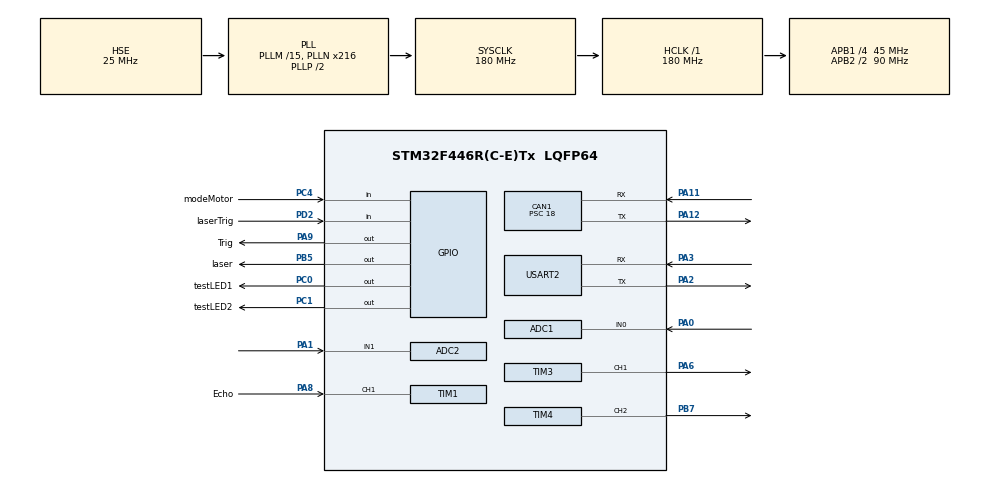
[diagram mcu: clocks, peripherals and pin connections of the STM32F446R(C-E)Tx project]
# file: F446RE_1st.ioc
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ADC1.Channel-0\#ChannelRegularConversion=ADC_CHANNEL_0
ADC1.ContinuousConvMode=ENABLE
ADC1.NbrOfConversionFlag=1
ADC1.Rank-0\#ChannelRegularConversion=1
ADC1.SamplingTime-0\#ChannelRegularConversion=ADC_SAMPLETIME_3CYCLES
ADC1.master=1
ADC2.Channel-1\#ChannelRegularConversion=ADC_CHANNEL_1
ADC2.ContinuousConvMode=ENABLE
ADC2.NbrOfConversionFlag=1
ADC2.Rank-1\#ChannelRegularConversion=1
ADC2.SamplingTime-1\#ChannelRegularConversion=ADC_SAMPLETIME_3CYCLES
CAN1.BS1=CAN_BS1_2TQ
CAN1.BS2=CAN_BS2_2TQ
CAN1.CalculateBaudRate=500000
CAN1.CalculateTimeBit=2000
CAN1.CalculateTimeQuantum=400.0
CAN1.Mode=CAN_MODE_NORMAL
CAN1.Prescaler=18
Dma.ADC1.1.Direction=DMA_PERIPH_TO_MEMORY
Dma.ADC1.1.FIFOMode=DMA_FIFOMODE_DISABLE
Dma.ADC1.1.Instance=DMA2_Stream0
Dma.ADC1.1.MemDataAlignment=DMA_MDATAALIGN_HALFWORD
Dma.ADC1.1.MemInc=DMA_MINC_ENABLE
Dma.ADC1.1.Mode=DMA_NORMAL
Dma.ADC1.1.PeriphDataAlignment=DMA_PDATAALIGN_HALFWORD
Dma.ADC1.1.PeriphInc=DMA_PINC_DISABLE
Dma.ADC1.1.Priority=DMA_PRIORITY_LOW
Dma.ADC2.0.Direction=DMA_PERIPH_TO_MEMORY
Dma.ADC2.0.FIFOMode=DMA_FIFOMODE_DISABLE
Dma.ADC2.0.Instance=DMA2_Stream2
Dma.ADC2.0.MemDataAlignment=DMA_MDATAALIGN_HALFWORD
Dma.ADC2.0.MemInc=DMA_MINC_ENABLE
Dma.ADC2.0.Mode=DMA_NORMAL
Dma.ADC2.0.PeriphDataAlignment=DMA_PDATAALIGN_HALFWORD
Dma.ADC2.0.PeriphInc=DMA_PINC_DISABLE
Dma.ADC2.0.Priority=DMA_PRIORITY_LOW
Dma.Request0=ADC2
Dma.Request1=ADC1
FREERTOS.Tasks01=CommandProcess,2,128,CommandProcessorTask,Default,NULL,Dynamic,NULL,NULL
FREERTOS.configUSE_NEWLIB_REENTRANT=1
Mcu.Family=STM32F4
Mcu.Name=STM32F446R(C-E)Tx
Mcu.Package=LQFP64
NVIC.CAN1_RX0_IRQn=true\:5\:0\:false\:false\:true\:true\:true\:true\:true
NVIC.DMA2_Stream0_IRQn=true\:5\:0\:false\:false\:true\:true\:false\:true\:true
NVIC.DMA2_Stream2_IRQn=true\:5\:0\:false\:false\:true\:true\:false\:true\:true
NVIC.PriorityGroup=NVIC_PRIORITYGROUP_4
NVIC.TIM1_CC_IRQn=true\:5\:0\:false\:false\:true\:true\:true\:true\:true
NVIC.TIM2_IRQn=true\:15\:0\:false\:false\:true\:false\:false\:true\:true
NVIC.TIM3_IRQn=true\:5\:0\:false\:false\:true\:true\:true\:true\:true
NVIC.TIM4_IRQn=true\:5\:0\:false\:false\:true\:true\:true\:true\:true
NVIC.TimeBase=TIM2_IRQn
NVIC.TimeBaseIP=TIM2
PA0-WKUP.Signal=ADCx_IN0
PA1.Signal=ADCx_IN1
PA11.Mode=CAN_Activate
PA11.Signal=CAN1_RX
PA12.Mode=CAN_Activate
PA12.Signal=CAN1_TX
PA2.Mode=Asynchronous
PA2.Signal=USART2_TX
PA3.Mode=Asynchronous
PA3.Signal=USART2_RX
PA6.Signal=S_TIM3_CH1
PA8.GPIO_Label=Echo
PA8.Signal=S_TIM1_CH1
PA9.GPIO_Label=Trig
PA9.Signal=GPIO_Output
PB5.GPIO_Label=laser
PB5.Signal=GPIO_Output
PB7.Signal=S_TIM4_CH2
PC0.GPIO_Label=testLED1
PC0.Signal=GPIO_Output
PC1.GPIO_Label=testLED2
PC1.Signal=GPIO_Output
PC4.GPIO_Label=modeMotor
PC4.GPIO_PuPd=GPIO_PULLDOWN
PC4.Signal=GPIO_Input
PD2.GPIO_Label=laserTrig
PD2.GPIO_PuPd=GPIO_PULLUP
PD2.Signal=GPIO_Input
PH0-OSC_IN.Mode=HSE-External-Oscillator
PH0-OSC_IN.Signal=RCC_OSC_IN
PH1-OSC_OUT.Mode=HSE-External-Oscillator
PH1-OSC_OUT.Signal=RCC_OSC_OUT
ProjectManager.HeapSize=0x200
ProjectManager.StackSize=0x400
ProjectManager.TargetToolchain=STM32CubeIDE
RCC.AHBFreq_Value=180000000
RCC.APB1CLKDivider=RCC_HCLK_DIV4
RCC.APB1Freq_Value=45000000
RCC.APB1TimFreq_Value=90000000
RCC.APB2CLKDivider=RCC_HCLK_DIV2
RCC.APB2Freq_Value=90000000
RCC.APB2TimFreq_Value=180000000
RCC.CortexFreq_Value=180000000
RCC.HCLKFreq_Value=180000000
RCC.PLLM=15
RCC.PLLN=216
RCC.PLLSourceVirtual=RCC_PLLSOURCE_HSE
RCC.SYSCLKFreq_VALUE=180000000
RCC.SYSCLKSource=RCC_SYSCLKSOURCE_PLLCLK
RCC.USBFreq_Value=180000000
RCC.VCOOutputFreq_Value=360000000
SH.ADCx_IN0.0=ADC1_IN0,IN0
SH.ADCx_IN1.0=ADC2_IN1,IN1
SH.S_TIM1_CH1.0=TIM1_CH1,Input_Capture1_from_TI1
SH.S_TIM3_CH1.0=TIM3_CH1,PWM Generation1 CH1
SH.S_TIM4_CH2.0=TIM4_CH2,PWM Generation2 CH2
TIM1.Channel-Input_Capture1_from_TI1=TIM_CHANNEL_1
TIM1.Prescaler=180-1
TIM3.Channel-PWM\ Generation1\ CH1=TIM_CHANNEL_1
TIM3.Period=1000
TIM3.Prescaler=900-1
TIM4.Channel-PWM\ Generation2\ CH2=TIM_CHANNEL_2
TIM4.Period=1000
TIM4.Prescaler=1800-1
USART2.VirtualMode=VM_ASYNC
VP_FREERTOS_VS_CMSIS_V1.Mode=CMSIS_V1
VP_SYS_VS_tim2.Mode=TIM2
VP_TIM3_VS_ClockSourceINT.Mode=Internal
VP_TIM4_VS_ClockSourceINT.Mode=Internal
board=custom

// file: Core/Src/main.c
/* USER CODE BEGIN Header */
/**
  ******************************************************************************
  * @file           : main.c
  * @brief          : Main program body
  ******************************************************************************
  * @attention
  *
  * Copyright (c) 2024 STMicroelectronics.
  * All rights reserved.
  *
  * This software is licensed under terms that can be found in the LICENSE file
  * in the root directory of this software component.
  * If no LICENSE file comes with this software, it is provided AS-IS.
  *
  ******************************************************************************
  */
/* USER CODE END Header */
#include "main.h"
#include "cmsis_os.h"

/* USER CODE BEGIN Includes */
#include <stdbool.h>
#include "message.pb.h"  // Include your Protocol Buffers header
#include <pb_encode.h>   // Include Nanopb encode header
#include <pb_decode.h>   // Include Nanopb decode header
#include "string.h"
#include <stdbool.h>
/* USER CODE END Includes */

/* USER CODE BEGIN PD */

// PWM pulse width limits for 9g servo motor
#define PWM_MIN 30.0f   // Minimum pulse width (CCR value for 0°)
#define PWM_MAX 75.0f   // Maximum pulse width (CCR value for 180°)

#define THRESHOLD_DISTANCE 4 // Ultra sound triggering distance

#define CAN_MAX_FRAME_SIZE 8 // Maximum bytes per CAN message
#define CAN_FIRST_FRAME_SIZE 7 // First frame bytes
#define MAX_MESSAGE_SIZE 32 // Maximum size of the entire message
#define CAN_ID_STATUS 0x441       // Standard CAN for sending status
#define CAN_ID_DATA 0x442       // Standard CAN for sending data
#define CAN_ID_DISP 0x144       // Standard CAN for sending status to display

/* USER CODE END PD */

ADC_HandleTypeDef hadc1;
ADC_HandleTypeDef hadc2;
DMA_HandleTypeDef hdma_adc1;
DMA_HandleTypeDef hdma_adc2;

CAN_HandleTypeDef hcan1;

TIM_HandleTypeDef htim1;
TIM_HandleTypeDef htim3;
TIM_HandleTypeDef htim4;

UART_HandleTypeDef huart2;

osThreadId CommandProcessHandle;
/* USER CODE BEGIN PV */

BaseType_t RetValJCT;
osThreadId Task2Handle;

BaseType_t RetValUST;
osThreadId Task3Handle;

BaseType_t RetValLCT;
osThreadId Task4Handle;

BaseType_t RetValSMT;
osThreadId Task5Handle;

BaseType_t RetValCAN;
osThreadId TaskCANHandle;

BaseType_t RetValCANSTATUS;
osThreadId TaskCanStatusHandle;

SemaphoreHandle_t xLaserSemaphore;
SemaphoreHandle_t xManualModeSemaphore;
SemaphoreHandle_t xScanModeSemaphore;
SemaphoreHandle_t xCanTransmitSemaphore;

uint16_t pulseX = 75;

CAN_TxHeaderTypeDef TxHeader;
CAN_RxHeaderTypeDef RxHeader;

uint8_t TxData[8];
uint8_t RxData[8];

uint32_t TxMailbox[3];

uint8_t fullRxBuffer[MAX_MESSAGE_SIZE] = {1};

uint32_t error;

/* USER CODE END PV */

void SystemClock_Config(void);
static void MX_GPIO_Init(void);
static void MX_DMA_Init(void);
static void MX_ADC1_Init(void);
static void MX_ADC2_Init(void);
static void MX_TIM3_Init(void);
static void MX_TIM4_Init(void);
static void MX_TIM1_Init(void);
static void MX_CAN1_Init(void);
static void MX_USART2_UART_Init(void);
void CommandProcessorTask(void const * argument);

/* USER CODE BEGIN PFP */
void JoystickControlTask(void * argument);
void UltrasonicSensorTask(void * argument);
void LaserControlTask(void * argument);
void ScanningModeTask(void * argument);
void CANCommunicationTask(void *argument);
void CANStatusCommTask(void *argument);
/* USER CODE END PFP */

/* USER CODE BEGIN 0 */
bool lock_motors = false;  // Lock motors in place
bool fire_laser = false;            // Fire laser
bool motor_mode = false;  // True for scanning and False for manual

uint32_t IC_Val1 = 0;
uint32_t IC_Val2 = 0;
uint32_t Difference = 0;
uint8_t Is_First_Captured = 0;  // is the first value captured ?
uint8_t Distance  = 100;

CombinedData received_combined = CombinedData_init_zero;
CombinedData feedback_combined = CombinedData_init_zero;
ServoUltrasonicData feedback_data = ServoUltrasonicData_init_zero;

uint8_t totalBytesReceived = 0;
size_t expectedMessageSize = 0;

void HAL_TIM_IC_CaptureCallback(TIM_HandleTypeDef *htim)
{
	if (htim->Channel == HAL_TIM_ACTIVE_CHANNEL_1)  // if the interrupt source is channel1
	{
		if (Is_First_Captured==0) // if the first value is not captured
		{
			IC_Val1 = HAL_TIM_ReadCapturedValue(htim, TIM_CHANNEL_1); // read the first value
			Is_First_Captured = 1;  // set the first captured as true
			// Now change the polarity to falling edge
			__HAL_TIM_SET_CAPTUREPOLARITY(htim, TIM_CHANNEL_1, TIM_INPUTCHANNELPOLARITY_FALLING);
		}

		else if (Is_First_Captured==1)   // if the first is already captured
		{
			IC_Val2 = HAL_TIM_ReadCapturedValue(htim, TIM_CHANNEL_1);  // read second value
			__HAL_TIM_SET_COUNTER(htim, 0);  // reset the counter

			if (IC_Val2 > IC_Val1)
			{
				Difference = IC_Val2-IC_Val1;
			}

			else if (IC_Val1 > IC_Val2)
			{
				Difference = (0xffff - IC_Val1) + IC_Val2;
			}

			Distance = Difference * .034/2;
			Is_First_Captured = 0; // set it back to false

			// set polarity to rising edge
			__HAL_TIM_SET_CAPTUREPOLARITY(htim, TIM_CHANNEL_1, TIM_INPUTCHANNELPOLARITY_RISING);
			__HAL_TIM_DISABLE_IT(&htim1, TIM_IT_CC1);
		}
	}
}

// Callback for CAN receive
void HAL_CAN_RxFifo0MsgPendingCallback(CAN_HandleTypeDef *hcan) {
    // Get the received message
    if (HAL_CAN_GetRxMessage(hcan, CAN_RX_FIFO0, &RxHeader, RxData) != HAL_OK) {
        Error_Handler();  // Handle reception error
    }

    if (totalBytesReceived == 0) {
        // The first byte of the first frame tells us the total message length
        expectedMessageSize = RxData[0];
        // Copy the remaining 7 bytes to the buffer
        memcpy(&fullRxBuffer[totalBytesReceived], &RxData[1], CAN_FIRST_FRAME_SIZE);
        totalBytesReceived += CAN_FIRST_FRAME_SIZE;
    } else {
        // Copy the full data as usual
        size_t datalength = RxHeader.DLC;
        memcpy(&fullRxBuffer[totalBytesReceived], RxData, datalength);
        totalBytesReceived += datalength;
    }

    // Check if the full message has been received
    if (totalBytesReceived >= expectedMessageSize) {
        // Decode the received message from the complete buffer
        pb_istream_t stream = pb_istream_from_buffer(fullRxBuffer, totalBytesReceived);
        bool status = pb_decode(&stream, CombinedData_fields, &received_combined);

        if (!status) {
//            Error_Handler();  // Handle decoding error
        }

        // Reset for the next message
        totalBytesReceived = 0;
        expectedMessageSize = 0;
    }
}

void SendCANMessage(uint8_t* buffer, size_t message_length, uint32_t ide) {
    size_t bytesSent = 0;
    uint8_t frameIndex = 0; // To keep track of the frames

    while (bytesSent < message_length) {
        uint8_t TxData[8] = {0}; // Initialize with zeros

        if (frameIndex == 0) {
            // First frame: include the message length in the first byte
            TxData[0] = (uint8_t)message_length; // Store the total message length in the first byte
            size_t bytesToSend = (message_length < CAN_FIRST_FRAME_SIZE) ? message_length : CAN_FIRST_FRAME_SIZE;
            memcpy(&TxData[1], &buffer[bytesSent], bytesToSend);
            TxHeader.DLC = bytesToSend + 1; // DLC is the number of bytes in this frame
            bytesSent += bytesToSend;
        } else {
            // Subsequent frames
            size_t bytesToSend = (message_length - bytesSent > CAN_MAX_FRAME_SIZE) ? CAN_MAX_FRAME_SIZE : (message_length - bytesSent);
            memcpy(TxData, &buffer[bytesSent], bytesToSend);
            TxHeader.DLC = bytesToSend; // DLC is the number of bytes in this frame
            bytesSent += bytesToSend;
        }

        TxHeader.IDE = CAN_ID_STD;
        TxHeader.RTR = CAN_RTR_DATA;
        TxHeader.StdId = ide;

        HAL_StatusTypeDef status = HAL_CAN_AddTxMessage(&hcan1, &TxHeader, TxData, &TxMailbox[frameIndex]);
        if (status != HAL_OK) {
//            Error_Handler();  // Handle transmission error
        }

        frameIndex++;
    }
}

/* USER CODE END 0 */

int main(void)
{

  /* MCU Configuration--------------------------------------------------------*/

  /* Reset of all peripherals, Initializes the Flash interface and the Systick. */
  HAL_Init();

  /* Configure the system clock */
  SystemClock_Config();

  /* Initialize all configured peripherals */
  MX_GPIO_Init();
  MX_DMA_Init();
  MX_ADC1_Init();
  MX_ADC2_Init();
  MX_TIM3_Init();
  MX_TIM4_Init();
  MX_TIM1_Init();
  MX_CAN1_Init();
  MX_USART2_UART_Init();
  /* USER CODE BEGIN 2 */

  HAL_TIM_PWM_Start(&htim3, TIM_CHANNEL_1); //start pwm signal motor1
  HAL_TIM_PWM_Start(&htim4, TIM_CHANNEL_2); //start pwm signal motor1

  HAL_TIM_IC_Start_IT(&htim1, TIM_CHANNEL_1);

  HAL_CAN_Start(&hcan1);
  HAL_CAN_ActivateNotification(&hcan1, CAN_IT_RX_FIFO0_MSG_PENDING);

  /* USER CODE END 2 */

  /* USER CODE BEGIN RTOS_SEMAPHORES */
  /* add semaphores, ... */
  xLaserSemaphore = xSemaphoreCreateBinary();
  assert_param(xLaserSemaphore != NULL);

  xManualModeSemaphore = xSemaphoreCreateBinary();
  assert_param(xManualModeSemaphore != NULL);

  xScanModeSemaphore = xSemaphoreCreateBinary();
  assert_param(xScanModeSemaphore != NULL);

  xCanTransmitSemaphore = xSemaphoreCreateBinary();
  assert_param(xCanTransmitSemaphore != NULL);
  /* USER CODE END RTOS_SEMAPHORES */

  /* Create the thread(s) */
  /* definition and creation of CommandProcess */
  osThreadDef(CommandProcess, CommandProcessorTask, osPriorityHigh, 0, 128);
  CommandProcessHandle = osThreadCreate(osThread(CommandProcess), NULL);

  /* USER CODE BEGIN RTOS_THREADS */
  /* add threads, ... */

  RetValJCT = xTaskCreate(JoystickControlTask, "JoystickControlTask", 128, NULL, PRIORITY_JOYSTICK_CONTROL, &Task2Handle);
  assert_param(RetValJCT != NULL);

  RetValUST = xTaskCreate(UltrasonicSensorTask, "UltrasonicSensorTask", 128, NULL, PRIORITY_ULTRASONIC_SENSOR, &Task3Handle);
  assert_param(RetValUST != NULL);

  RetValLCT = xTaskCreate(LaserControlTask, "LaserControlTask", 128, NULL, PRIORITY_LASER_CONTROL, &Task4Handle);
  assert_param(RetValLCT != NULL);

  RetValSMT = xTaskCreate(ScanningModeTask, "ScanningModeTask", 128, NULL, PRIORITY_SCANNING_MODE, &Task5Handle);
  assert_param(RetValSMT != NULL);

  RetValCAN = xTaskCreate(CANCommunicationTask, "CANCommTask", 256, NULL, osPriorityNormal, &TaskCANHandle);
  assert_param(RetValCAN != NULL);

  RetValCANSTATUS = xTaskCreate(CANStatusCommTask, "CANStatusCommTask", 256, NULL, osPriorityNormal, &TaskCanStatusHandle);
  assert_param(RetValCANSTATUS != NULL);

  /* USER CODE END RTOS_THREADS */

  /* Start scheduler */
  osKernelStart();

  /* We should never get here as control is now taken by the scheduler */
  /* Infinite loop */
  while (1)
  {

  }
}

void SystemClock_Config(void)
{
  RCC_OscInitTypeDef RCC_OscInitStruct = {0};
  RCC_ClkInitTypeDef RCC_ClkInitStruct = {0};

  /** Configure the main internal regulator output voltage
  */
  __HAL_RCC_PWR_CLK_ENABLE();
  __HAL_PWR_VOLTAGESCALING_CONFIG(PWR_REGULATOR_VOLTAGE_SCALE1);

  /** Initializes the RCC Oscillators according to the specified parameters
  * in the RCC_OscInitTypeDef structure.
  */
  RCC_OscInitStruct.OscillatorType = RCC_OSCILLATORTYPE_HSE;
  RCC_OscInitStruct.HSEState = RCC_HSE_ON;
  RCC_OscInitStruct.PLL.PLLState = RCC_PLL_ON;
  RCC_OscInitStruct.PLL.PLLSource = RCC_PLLSOURCE_HSE;
  RCC_OscInitStruct.PLL.PLLM = 15;
  RCC_OscInitStruct.PLL.PLLN = 216;
  RCC_OscInitStruct.PLL.PLLP = RCC_PLLP_DIV2;
  RCC_OscInitStruct.PLL.PLLQ = 2;
  RCC_OscInitStruct.PLL.PLLR = 2;
  if (HAL_RCC_OscConfig(&RCC_OscInitStruct) != HAL_OK)
  {
    Error_Handler();
  }

  /** Activate the Over-Drive mode
  */
  if (HAL_PWREx_EnableOverDrive() != HAL_OK)
  {
    Error_Handler();
  }

  /** Initializes the CPU, AHB and APB buses clocks
  */
  RCC_ClkInitStruct.ClockType = RCC_CLOCKTYPE_HCLK|RCC_CLOCKTYPE_SYSCLK
                              |RCC_CLOCKTYPE_PCLK1|RCC_CLOCKTYPE_PCLK2;
  RCC_ClkInitStruct.SYSCLKSource = RCC_SYSCLKSOURCE_PLLCLK;
  RCC_ClkInitStruct.AHBCLKDivider = RCC_SYSCLK_DIV1;
  RCC_ClkInitStruct.APB1CLKDivider = RCC_HCLK_DIV4;
  RCC_ClkInitStruct.APB2CLKDivider = RCC_HCLK_DIV2;

  if (HAL_RCC_ClockConfig(&RCC_ClkInitStruct, FLASH_LATENCY_5) != HAL_OK)
  {
    Error_Handler();
  }
}

static void MX_ADC1_Init(void)
{

  ADC_ChannelConfTypeDef sConfig = {0};

  /** Configure the global features of the ADC (Clock, Resolution, Data Alignment and number of conversion)
  */
  hadc1.Instance = ADC1;
  hadc1.Init.ClockPrescaler = ADC_CLOCK_SYNC_PCLK_DIV4;
  hadc1.Init.Resolution = ADC_RESOLUTION_12B;
  hadc1.Init.ScanConvMode = DISABLE;
  hadc1.Init.ContinuousConvMode = ENABLE;
  hadc1.Init.DiscontinuousConvMode = DISABLE;
  hadc1.Init.ExternalTrigConvEdge = ADC_EXTERNALTRIGCONVEDGE_NONE;
  hadc1.Init.ExternalTrigConv = ADC_SOFTWARE_START;
  hadc1.Init.DataAlign = ADC_DATAALIGN_RIGHT;
  hadc1.Init.NbrOfConversion = 1;
  hadc1.Init.DMAContinuousRequests = DISABLE;
  hadc1.Init.EOCSelection = ADC_EOC_SINGLE_CONV;
  if (HAL_ADC_Init(&hadc1) != HAL_OK)
  {
    Error_Handler();
  }

  /** Configure for the selected ADC regular channel its corresponding rank in the sequencer and its sample time.
  */
  sConfig.Channel = ADC_CHANNEL_0;
  sConfig.Rank = 1;
  sConfig.SamplingTime = ADC_SAMPLETIME_3CYCLES;
  if (HAL_ADC_ConfigChannel(&hadc1, &sConfig) != HAL_OK)
  {
    Error_Handler();
  }

}

static void MX_ADC2_Init(void)
{

  ADC_ChannelConfTypeDef sConfig = {0};

  /** Configure the global features of the ADC (Clock, Resolution, Data Alignment and number of conversion)
  */
  hadc2.Instance = ADC2;
  hadc2.Init.ClockPrescaler = ADC_CLOCK_SYNC_PCLK_DIV4;
  hadc2.Init.Resolution = ADC_RESOLUTION_12B;
  hadc2.Init.ScanConvMode = DISABLE;
  hadc2.Init.ContinuousConvMode = ENABLE;
  hadc2.Init.DiscontinuousConvMode = DISABLE;
  hadc2.Init.ExternalTrigConvEdge = ADC_EXTERNALTRIGCONVEDGE_NONE;
  hadc2.Init.ExternalTrigConv = ADC_SOFTWARE_START;
  hadc2.Init.DataAlign = ADC_DATAALIGN_RIGHT;
  hadc2.Init.NbrOfConversion = 1;
  hadc2.Init.DMAContinuousRequests = DISABLE;
  hadc2.Init.EOCSelection = ADC_EOC_SINGLE_CONV;
  if (HAL_ADC_Init(&hadc2) != HAL_OK)
  {
    Error_Handler();
  }

  /** Configure for the selected ADC regular channel its corresponding rank in the sequencer and its sample time.
  */
  sConfig.Channel = ADC_CHANNEL_1;
  sConfig.Rank = 1;
  sConfig.SamplingTime = ADC_SAMPLETIME_3CYCLES;
  if (HAL_ADC_ConfigChannel(&hadc2, &sConfig) != HAL_OK)
  {
    Error_Handler();
  }

}

static void MX_CAN1_Init(void)
{

  hcan1.Instance = CAN1;
  hcan1.Init.Prescaler = 18;
  hcan1.Init.Mode = CAN_MODE_NORMAL;
  hcan1.Init.SyncJumpWidth = CAN_SJW_1TQ;
  hcan1.Init.TimeSeg1 = CAN_BS1_2TQ;
  hcan1.Init.TimeSeg2 = CAN_BS2_2TQ;
  hcan1.Init.TimeTriggeredMode = DISABLE;
  hcan1.Init.AutoBusOff = DISABLE;
  hcan1.Init.AutoWakeUp = DISABLE;
  hcan1.Init.AutoRetransmission = DISABLE;
  hcan1.Init.ReceiveFifoLocked = DISABLE;
  hcan1.Init.TransmitFifoPriority = DISABLE;
  if (HAL_CAN_Init(&hcan1) != HAL_OK)
  {
    Error_Handler();
  }
  /* USER CODE BEGIN CAN1_Init 2 */

  CAN_FilterTypeDef canfilterconfig;

  canfilterconfig.FilterActivation = CAN_FILTER_ENABLE;
  canfilterconfig.FilterBank = 18;  // Choose a filter bank
  canfilterconfig.FilterFIFOAssignment = CAN_FILTER_FIFO0;
  canfilterconfig.FilterIdHigh = 0x441 << 5; // Example ID, adjust as needed
  canfilterconfig.FilterIdLow = 0;
  canfilterconfig.FilterMaskIdHigh = 0x441 << 5;
  canfilterconfig.FilterMaskIdLow = 0;
  canfilterconfig.FilterMode = CAN_FILTERMODE_IDMASK;
  canfilterconfig.FilterScale = CAN_FILTERSCALE_32BIT;
  canfilterconfig.SlaveStartFilterBank = 20;

  HAL_CAN_ConfigFilter(&hcan1, &canfilterconfig);

  /* USER CODE END CAN1_Init 2 */

}

static void MX_TIM1_Init(void)
{

  TIM_MasterConfigTypeDef sMasterConfig = {0};
  TIM_IC_InitTypeDef sConfigIC = {0};

  htim1.Instance = TIM1;
  htim1.Init.Prescaler = 180-1;
  htim1.Init.CounterMode = TIM_COUNTERMODE_UP;
  htim1.Init.Period = 65535;
  htim1.Init.ClockDivision = TIM_CLOCKDIVISION_DIV1;
  htim1.Init.RepetitionCounter = 0;
  htim1.Init.AutoReloadPreload = TIM_AUTORELOAD_PRELOAD_DISABLE;
  if (HAL_TIM_IC_Init(&htim1) != HAL_OK)
  {
    Error_Handler();
  }
  sMasterConfig.MasterOutputTrigger = TIM_TRGO_RESET;
  sMasterConfig.MasterSlaveMode = TIM_MASTERSLAVEMODE_DISABLE;
  if (HAL_TIMEx_MasterConfigSynchronization(&htim1, &sMasterConfig) != HAL_OK)
  {
    Error_Handler();
  }
  sConfigIC.ICPolarity = TIM_INPUTCHANNELPOLARITY_RISING;
  sConfigIC.ICSelection = TIM_ICSELECTION_DIRECTTI;
  sConfigIC.ICPrescaler = TIM_ICPSC_DIV1;
  sConfigIC.ICFilter = 0;
  if (HAL_TIM_IC_ConfigChannel(&htim1, &sConfigIC, TIM_CHANNEL_1) != HAL_OK)
  {
    Error_Handler();
  }

}

static void MX_TIM3_Init(void)
{

  TIM_ClockConfigTypeDef sClockSourceConfig = {0};
  TIM_MasterConfigTypeDef sMasterConfig = {0};
  TIM_OC_InitTypeDef sConfigOC = {0};

  htim3.Instance = TIM3;
  htim3.Init.Prescaler = 900-1;
  htim3.Init.CounterMode = TIM_COUNTERMODE_UP;
  htim3.Init.Period = 1000;
  htim3.Init.ClockDivision = TIM_CLOCKDIVISION_DIV1;
  htim3.Init.AutoReloadPreload = TIM_AUTORELOAD_PRELOAD_DISABLE;
  if (HAL_TIM_Base_Init(&htim3) != HAL_OK)
  {
    Error_Handler();
  }
  sClockSourceConfig.ClockSource = TIM_CLOCKSOURCE_INTERNAL;
  if (HAL_TIM_ConfigClockSource(&htim3, &sClockSourceConfig) != HAL_OK)
  {
    Error_Handler();
  }
  if (HAL_TIM_PWM_Init(&htim3) != HAL_OK)
  {
    Error_Handler();
  }
  sMasterConfig.MasterOutputTrigger = TIM_TRGO_RESET;
  sMasterConfig.MasterSlaveMode = TIM_MASTERSLAVEMODE_DISABLE;
  if (HAL_TIMEx_MasterConfigSynchronization(&htim3, &sMasterConfig) != HAL_OK)
  {
    Error_Handler();
  }
  sConfigOC.OCMode = TIM_OCMODE_PWM1;
  sConfigOC.Pulse = 0;
  sConfigOC.OCPolarity = TIM_OCPOLARITY_HIGH;
  sConfigOC.OCFastMode = TIM_OCFAST_DISABLE;
  if (HAL_TIM_PWM_ConfigChannel(&htim3, &sConfigOC, TIM_CHANNEL_1) != HAL_OK)
  {
    Error_Handler();
  }
  HAL_TIM_MspPostInit(&htim3);

}

static void MX_TIM4_Init(void)
{

  TIM_ClockConfigTypeDef sClockSourceConfig = {0};
  TIM_MasterConfigTypeDef sMasterConfig = {0};
  TIM_OC_InitTypeDef sConfigOC = {0};

  htim4.Instance = TIM4;
  htim4.Init.Prescaler = 1800-1;
  htim4.Init.CounterMode = TIM_COUNTERMODE_UP;
  htim4.Init.Period = 1000;
  htim4.Init.ClockDivision = TIM_CLOCKDIVISION_DIV1;
  htim4.Init.AutoReloadPreload = TIM_AUTORELOAD_PRELOAD_DISABLE;
  if (HAL_TIM_Base_Init(&htim4) != HAL_OK)
  {
    Error_Handler();
  }
  sClockSourceConfig.ClockSource = TIM_CLOCKSOURCE_INTERNAL;
  if (HAL_TIM_ConfigClockSource(&htim4, &sClockSourceConfig) != HAL_OK)
  {
    Error_Handler();
  }
  if (HAL_TIM_PWM_Init(&htim4) != HAL_OK)
  {
    Error_Handler();
  }
  sMasterConfig.MasterOutputTrigger = TIM_TRGO_RESET;
  sMasterConfig.MasterSlaveMode = TIM_MASTERSLAVEMODE_DISABLE;
  if (HAL_TIMEx_MasterConfigSynchronization(&htim4, &sMasterConfig) != HAL_OK)
  {
    Error_Handler();
  }
  sConfigOC.OCMode = TIM_OCMODE_PWM1;
  sConfigOC.Pulse = 0;
  sConfigOC.OCPolarity = TIM_OCPOLARITY_HIGH;
  sConfigOC.OCFastMode = TIM_OCFAST_DISABLE;
  if (HAL_TIM_PWM_ConfigChannel(&htim4, &sConfigOC, TIM_CHANNEL_2) != HAL_OK)
  {
    Error_Handler();
  }
  HAL_TIM_MspPostInit(&htim4);

}

static void MX_USART2_UART_Init(void)
{

  huart2.Instance = USART2;
  huart2.Init.BaudRate = 115200;
  huart2.Init.WordLength = UART_WORDLENGTH_8B;
  huart2.Init.StopBits = UART_STOPBITS_1;
  huart2.Init.Parity = UART_PARITY_NONE;
  huart2.Init.Mode = UART_MODE_TX_RX;
  huart2.Init.HwFlowCtl = UART_HWCONTROL_NONE;
  huart2.Init.OverSampling = UART_OVERSAMPLING_16;
  if (HAL_UART_Init(&huart2) != HAL_OK)
  {
    Error_Handler();
  }

}

static void MX_DMA_Init(void)
{

  /* DMA controller clock enable */
  __HAL_RCC_DMA2_CLK_ENABLE();

  /* DMA interrupt init */
  /* DMA2_Stream0_IRQn interrupt configuration */
  HAL_NVIC_SetPriority(DMA2_Stream0_IRQn, 5, 0);
  HAL_NVIC_EnableIRQ(DMA2_Stream0_IRQn);
  /* DMA2_Stream2_IRQn interrupt configuration */
  HAL_NVIC_SetPriority(DMA2_Stream2_IRQn, 5, 0);
  HAL_NVIC_EnableIRQ(DMA2_Stream2_IRQn);

}

static void MX_GPIO_Init(void)
{
  GPIO_InitTypeDef GPIO_InitStruct = {0};

  /* GPIO Ports Clock Enable */
  __HAL_RCC_GPIOH_CLK_ENABLE();
  __HAL_RCC_GPIOC_CLK_ENABLE();
  __HAL_RCC_GPIOA_CLK_ENABLE();
  __HAL_RCC_GPIOD_CLK_ENABLE();
  __HAL_RCC_GPIOB_CLK_ENABLE();

  /*Configure GPIO pin Output Level */
  HAL_GPIO_WritePin(GPIOC, testLED1_Pin|testLED2_Pin, GPIO_PIN_RESET);

  /*Configure GPIO pin Output Level */
  HAL_GPIO_WritePin(Trig_GPIO_Port, Trig_Pin, GPIO_PIN_RESET);

  /*Configure GPIO pin Output Level */
  HAL_GPIO_WritePin(laser_GPIO_Port, laser_Pin, GPIO_PIN_RESET);

  /*Configure GPIO pins : testLED1_Pin testLED2_Pin */
  GPIO_InitStruct.Pin = testLED1_Pin|testLED2_Pin;
  GPIO_InitStruct.Mode = GPIO_MODE_OUTPUT_PP;
  GPIO_InitStruct.Pull = GPIO_NOPULL;
  GPIO_InitStruct.Speed = GPIO_SPEED_FREQ_LOW;
  HAL_GPIO_Init(GPIOC, &GPIO_InitStruct);

  /*Configure GPIO pin : modeMotor_Pin */
  GPIO_InitStruct.Pin = modeMotor_Pin;
  GPIO_InitStruct.Mode = GPIO_MODE_INPUT;
  GPIO_InitStruct.Pull = GPIO_PULLDOWN;
  HAL_GPIO_Init(modeMotor_GPIO_Port, &GPIO_InitStruct);

  /*Configure GPIO pin : Trig_Pin */
  GPIO_InitStruct.Pin = Trig_Pin;
  GPIO_InitStruct.Mode = GPIO_MODE_OUTPUT_PP;
  GPIO_InitStruct.Pull = GPIO_NOPULL;
  GPIO_InitStruct.Speed = GPIO_SPEED_FREQ_LOW;
  HAL_GPIO_Init(Trig_GPIO_Port, &GPIO_InitStruct);

  /*Configure GPIO pin : laserTrig_Pin */
  GPIO_InitStruct.Pin = laserTrig_Pin;
  GPIO_InitStruct.Mode = GPIO_MODE_INPUT;
  GPIO_InitStruct.Pull = GPIO_PULLUP;
  HAL_GPIO_Init(laserTrig_GPIO_Port, &GPIO_InitStruct);

  /*Configure GPIO pin : laser_Pin */
  GPIO_InitStruct.Pin = laser_Pin;
  GPIO_InitStruct.Mode = GPIO_MODE_OUTPUT_PP;
  GPIO_InitStruct.Pull = GPIO_NOPULL;
  GPIO_InitStruct.Speed = GPIO_SPEED_FREQ_LOW;
  HAL_GPIO_Init(laser_GPIO_Port, &GPIO_InitStruct);

}

/* USER CODE BEGIN 4 */

void JoystickControlTask(void * argument) {
	uint16_t readValueX;
	uint16_t readValueY;

	uint16_t pulseX;
	uint16_t pulseY;

    while(1) {
    	if (xSemaphoreTake(xManualModeSemaphore, portMAX_DELAY)) {
			// Read joystick x-axis
			HAL_ADC_Start(&hadc1);
			HAL_ADC_PollForConversion(&hadc1,1);
			readValueX = HAL_ADC_GetValue(&hadc1);
			HAL_ADC_Stop(&hadc1);

			// Read joystick y-axis
			HAL_ADC_Start(&hadc2);
			HAL_ADC_PollForConversion(&hadc2,1);
			readValueY = HAL_ADC_GetValue(&hadc2);
			HAL_ADC_Stop(&hadc2);

			// Perform the calculation to get ccr value for desired pwm
			pulseX = PWM_MIN + (uint16_t)(((float)readValueX / 4095.0) * (PWM_MAX - PWM_MIN));
			htim3.Instance->CCR1 = pulseX;

			pulseY = PWM_MIN + (uint16_t)(((float)readValueY / 4095.0) * (PWM_MAX - PWM_MIN));
			htim4.Instance->CCR1 = pulseY;

			xSemaphoreGive(xManualModeSemaphore);
			vTaskDelay(pdMS_TO_TICKS(100));  // Delay to allow other tasks to run
    	}
    }
}

void UltrasonicSensorTask(void * argument) {

    while(1) {
    	HAL_GPIO_WritePin(Trig_GPIO_Port, Trig_Pin, GPIO_PIN_SET);  // pull the TRIG pin HIGH
    	vTaskDelay(pdMS_TO_TICKS(10));  // wait for 10 ms
		HAL_GPIO_WritePin(Trig_GPIO_Port, Trig_Pin, GPIO_PIN_RESET);  // pull the TRIG pin low

		__HAL_TIM_ENABLE_IT(&htim1, TIM_IT_CC1);

        if (Distance < THRESHOLD_DISTANCE) {
        	// Notify CommandProcessorTask that object is close
        	xTaskNotify(CommandProcessHandle, (1 << 0), eSetBits); // Use bit 0 to indicate UltrasonicSensorTask
        }
        else if (Distance > THRESHOLD_DISTANCE) {
        	// Notify LaserControlTask that object is far
        	xTaskNotify(CommandProcessHandle, (1 << 1), eSetBits); // Use bit 0 to indicate LaserControlTask
        }

        vTaskDelay(pdMS_TO_TICKS(200));
    }
}

void LaserControlTask(void * argument) {

    while(1) {

        if (xSemaphoreTake(xLaserSemaphore, 0) == pdTRUE) {
            // If semaphore is successfully taken, turn on the laser
            HAL_GPIO_WritePin(laser_GPIO_Port, laser_Pin, GPIO_PIN_SET);
            xSemaphoreGive(xLaserSemaphore);
        } else {
            // If semaphore is not available, turn off the laser
            HAL_GPIO_WritePin(laser_GPIO_Port, laser_Pin, GPIO_PIN_RESET);
        }
        vTaskDelay(pdMS_TO_TICKS(100));
    }
}

void ScanningModeTask(void * argument) {
    bool increasing = true;  // Flag to indicate direction of movement

    for (;;) {
            while (1) {
                // Check if laser mode is active and should stop scanning
                if (xSemaphoreTake(xScanModeSemaphore, 0) == pdFALSE) {
                    // Laser mode active, stop scanning
                    break;
                }

                // Update PWM for motor X
                htim3.Instance->CCR1 = pulseX;

                // Move in the current direction
                if (increasing) {
                    pulseX++;
                    if (pulseX > PWM_MAX) {
                        pulseX = PWM_MAX;  // Cap pulseX at 100
                        increasing = false;  // Change direction to decreasing
                    }
                } else {
                    pulseX--;
                    if (pulseX < PWM_MIN) {
                        pulseX = PWM_MIN;  // Cap pulseX at 50
                        increasing = true;  // Change direction to increasing
                    }
                }

                xSemaphoreGive(xScanModeSemaphore);

                // Delay for smooth movement
                vTaskDelay(pdMS_TO_TICKS(50));
        }
    }
}

void CANCommunicationTask(void *argument) {
    uint8_t buffer[MAX_MESSAGE_SIZE];  // Adjust the buffer size according to your needs
    size_t message_length;

	for (;;)
	{
		if (xSemaphoreTake(xCanTransmitSemaphore, 0) == pdTRUE) {
			feedback_data.position_1 = ((float)(htim3.Instance->CCR1 - PWM_MIN) / (PWM_MAX - PWM_MIN)) * 180.0f;  //  Calculating motor 1 angle from ccr value
			feedback_data.position_2 = ((float)(htim4.Instance->CCR1 - PWM_MIN) / (PWM_MAX - PWM_MIN)) * 180.0f;  //  Calculating motor 2 angle from ccr value
			feedback_data.distance = (float)(Distance); // UltraSound distance

		    pb_ostream_t stream = pb_ostream_from_buffer(buffer, sizeof(buffer));
		    bool status = pb_encode(&stream, ServoUltrasonicData_fields, &feedback_data);
		    message_length = stream.bytes_written;

		    if (!status) {
		        Error_Handler();  // Handle encoding error
		    }

			/// Send the data
		    SendCANMessage(buffer, message_length, CAN_ID_DISP);
		    xSemaphoreGive(xCanTransmitSemaphore);

			vTaskDelay(pdMS_TO_TICKS(150));
		}
	}
}

void CANStatusCommTask(void *argument) {
    uint8_t buffer[MAX_MESSAGE_SIZE];  // Adjust the buffer size according to your needs
    size_t message_length;

	for (;;)
	{
		feedback_combined.status.lock_motors = lock_motors;
		feedback_combined.status.fire_laser = fire_laser;
		feedback_combined.status.motor_mode = motor_mode;  // True for scanning and False for manual
		feedback_combined.servo_data.distance = (float)(Distance); // UltraSound distance
		feedback_combined.servo_data.position_1 = ((float)(htim3.Instance->CCR1 - PWM_MIN) / (PWM_MAX - PWM_MIN)) * 180.0f;  //  Calculating motor 1 angle from ccr value
		feedback_combined.servo_data.position_2 = ((float)(htim4.Instance->CCR1 - PWM_MIN) / (PWM_MAX - PWM_MIN)) * 180.0f;  //  Calculating motor 2 angle from ccr value

		feedback_combined.has_servo_data = true;
		feedback_combined.has_status = true;

	    pb_ostream_t stream = pb_ostream_from_buffer(buffer, sizeof(buffer));
	    bool status = pb_encode(&stream, CombinedData_fields, &feedback_combined);
	    message_length = stream.bytes_written;

	    if (!status) {
	        Error_Handler();  // Handle encoding error
	    }

		/// Send the data
	    SendCANMessage(buffer, message_length, CAN_ID_STATUS);

		vTaskDelay(pdMS_TO_TICKS(20));
	}
}
    /* USER CODE END 5 */

/* USER CODE END 4 */

void CommandProcessorTask(void const * argument)
{
  /* USER CODE BEGIN 5 */
	uint32_t ulNotificationValue;
	bool ultraTrig = false;
  /* Infinite loop */
	for(;;){
		lock_motors = received_combined.status.lock_motors || !HAL_GPIO_ReadPin(laserTrig_GPIO_Port, laserTrig_Pin);
		fire_laser = received_combined.status.fire_laser || !HAL_GPIO_ReadPin(laserTrig_GPIO_Port, laserTrig_Pin) || ultraTrig;
		motor_mode = received_combined.status.motor_mode;

		if (xTaskNotifyWait(0, 0xFFFFFFFF, &ulNotificationValue, 0) == pdTRUE) {

			if (ulNotificationValue & (1 << 0)) {
				ultraTrig = true; // Ultrasound noti, object close
			}
			else if (ulNotificationValue & (1 << 1)) {
				ultraTrig = false; // Ultrasound noti, object far
			}
		}

		if (fire_laser)
		{
			xSemaphoreGive(xLaserSemaphore);

			if (lock_motors) {
				xSemaphoreGive(xCanTransmitSemaphore);
			}
		} else {
			xSemaphoreTake(xLaserSemaphore, 0);
			xSemaphoreTake(xCanTransmitSemaphore, 0);
		}

		if (lock_motors) {
			xSemaphoreTake(xManualModeSemaphore, 0);
			xSemaphoreTake(xScanModeSemaphore, 0);
		}

		if (motor_mode && !lock_motors) // IF BUTTON IS BEING PRESSED, IT IS IN SCANNING MODE
		{
			HAL_GPIO_WritePin(testLED1_GPIO_Port, testLED1_Pin, GPIO_PIN_SET);
			xSemaphoreTake(xManualModeSemaphore, 0);
			xSemaphoreGive(xScanModeSemaphore);
		} else if (!motor_mode && !lock_motors) {
			xSemaphoreTake(xScanModeSemaphore, 0);
			xSemaphoreGive(xManualModeSemaphore);
			HAL_GPIO_WritePin(testLED1_GPIO_Port, testLED1_Pin, GPIO_PIN_RESET);
		}

		vTaskDelay(pdMS_TO_TICKS(60));
	}
  /* USER CODE END 5 */
}

void HAL_TIM_PeriodElapsedCallback(TIM_HandleTypeDef *htim)
{
  if (htim->Instance == TIM2) {
    HAL_IncTick();
  }
}

void Error_Handler(void)
{
  __disable_irq();
  while (1)
  {
  }
}
